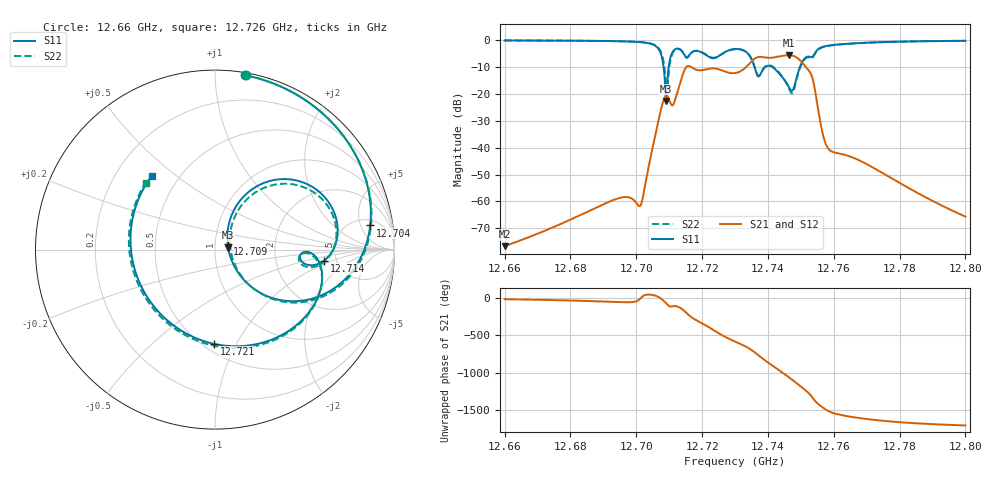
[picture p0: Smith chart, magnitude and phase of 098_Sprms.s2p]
! TOUCHSTONE file generated by CST MICROWAVE STUDIO
! Date and time: Wed Jul 31 15:41:39 2024
! Project name: WaveGuide_BPF-Ver4.1_U-shape_Ku_T3_C4_CWA_2.cst
! Parameters = {cavity_h=16; cavity_l0=10; cavity_l1=15.1613; cavity_l2=16.8263; cavity_l3=17.095; cavity_l4=17.2799; cavity_l5=17.1021; cavity_l6=17.5958; cavity_r=2.5; cavity_screw_l=0.5; cavity_screw_r=1.5; cavity_w=8; iris_h00=0; iris_h01=8.8112; iris_h112=0; iris_h12=5.588; iris_h211=3.6639; ir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
! Header version: 2018
! Port assignment regex: !\s*Touchstone port\s*([0-9]+)\s*=\s*(CST MWS port|CST DS port)\s*([0-9]+|Zmin|Zmax)\s*\(\"(.*)\"\)(\s*mode\s*([0-9]+))?.*
! Touchstone port assignment:
! Touchstone port 1 = CST MWS port 1 ("")
! Touchstone port 2 = CST MWS port 2 ("")
# GHz S RI R 50
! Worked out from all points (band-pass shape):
!   5001 points, 12.66 GHz to 12.8 GHz, reference 50 ohm
!   highest |S21| = -5.62 dB at 12.746 GHz (marker M1); lowest = -76.7 dB at 12.66 GHz (marker M2)
!   |S21| within 3 dB of the highest: 12.7345 GHz to 12.75059 GHz (16.09 MHz wide, 0.126 % of centre)
!   lowest |S11| = -22.6 dB at 12.709 GHz (marker M3), VSWR 1.16, Z = 57.9 + j1.2 ohm
!   |S11| at or under -10 dB: 12.7083 GHz to 12.70984 GHz (1.536 MHz wide, 0.0121 % of centre); 12.73593 GHz to 12.73917 GHz (3.236 MHz wide, 0.0254 % of centre); 12.74133 GHz to 12.74972 GHz (8.398 MHz wide, 0.0659 % of centre)
!   |S22| runs from -21.3 to -0.1 dB; largest |S21 - S12| = 1e-09
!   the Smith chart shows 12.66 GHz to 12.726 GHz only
!   S11 on the Smith chart (normalised r, x): 12.66 GHz: 0.02, +1.19; 12.704 GHz: 6.43, +7.39; 12.709 GHz: 1.15, +0.07; 12.714 GHz: 3.96, -0.78; 12.721 GHz: 0.56, -0.82; 12.726 GHz: 0.35, +0.41
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12.66  0.1669 0.9717  0.000143 -3.41e-05  0.000143 -3.41e-05  0.1713 0.9709
12.68335  0.4912 0.8408  0.000466 -0.000328  0.000466 -0.000328  0.4965 0.8376
12.70105  0.8506 0.3501  0.000796 -0.000175  0.000796 -0.000175  0.8533 0.3484
12.70376  0.8647 0.1346  0.00292 0.00333  0.00292 0.00333  0.8697 0.1397
12.70668  0.66 -0.2185  0.029 0.00928  0.029 0.00928  0.6961 -0.203
12.70906  0.0732 0.0103  0.0317 -0.0862  0.0317 -0.0862  0.1077 -0.0764
12.70911  0.0704 0.0317  0.0279 -0.0877  0.0279 -0.0877  0.1002 -0.0564
12.71096  0.4439 0.3873  -0.0205 -0.0575  -0.0205 -0.0575  0.4133 0.3663
12.71404  0.6067 -0.062  -0.1887 -0.1116  -0.1887 -0.1116  0.5993 -0.0747
12.72121  -0.00371 -0.5257  0.284 -0.0337  0.284 -0.0337  0.00857 -0.5385
12.72574  -0.3525 0.4103  -0.1728 -0.2175  -0.1728 -0.2175  -0.3856 0.373
12.73  0.4555 0.5103  -0.1834 0.1603  -0.1834 0.1603  0.4275 0.5262
12.73619  0.1999 -0.1977  0.4495 -0.0996  0.4495 -0.0996  0.2078 -0.1951
12.7386  0.2557 -0.1332  -0.0502 -0.4778  -0.0502 -0.4778  0.2617 -0.1313
12.74165  -0.0332 -0.3046  -0.4646 0.0949  -0.4646 0.0949  -0.0108 -0.3164
12.74627  -0.1054 0.0879  0.4796 0.2103  0.4796 0.2103  -0.1143 0.0646
12.74926  -0.212 0.1537  0.0906 -0.4404  0.0906 -0.4404  -0.2271 0.1008
12.75335  0.1861 0.4467  -0.0993 0.1878  -0.0993 0.1878  0.1325 0.4438
12.75842  0.7917 0.014  0.00258 -0.0091  0.00258 -0.0091  0.7814 0.0483
12.7662  0.2942 -0.8197  -0.00586 -0.00256  -0.00586 -0.00256  0.292 -0.8178
12.77668  -0.532 -0.7574  -0.0025 0.00146  -0.0025 0.00146  -0.5418 -0.7505
12.8  -0.9708 -0.012  -3.9e-05 0.000519  -3.9e-05 0.000519  -0.9712 -0.00291
